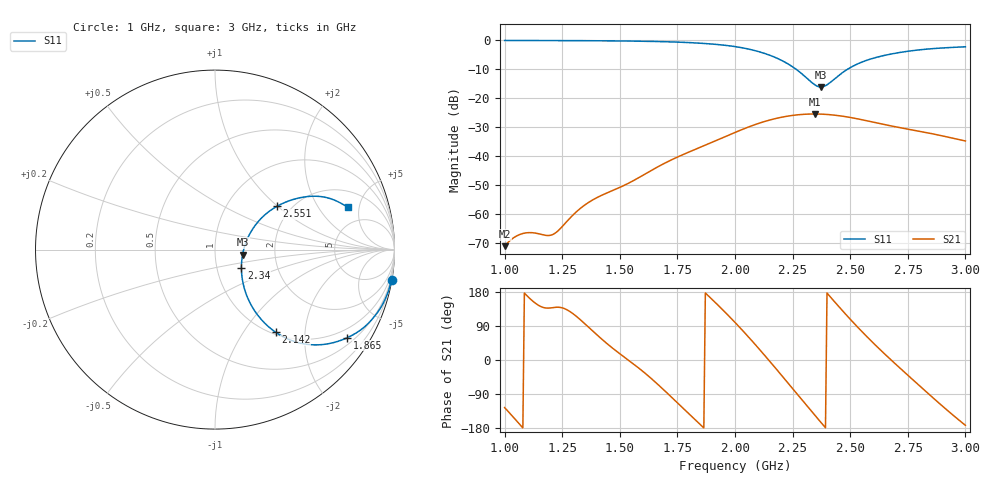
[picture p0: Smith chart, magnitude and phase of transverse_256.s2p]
! TOUCHSTONE file generated by CST MICROWAVE STUDIO
! Date and time: Tue Mar 11 13:58:04 2025
! Project name: transverse.cst
! Parameters = {Fracture=5; B=12.5; D=160; F=5; Feed=2.85625; L=100; M=10; R=0.384908; S=2; Theta=270; length=57.125; wave=114.25}
! Header version: 2024
! Port assignment regex: !\s*Touchstone port\s*([0-9]+)\s*=\s*(CST MWS port|CST DES external port|CST DES block port)\s*(.+)\s* \(\"(.*)\"\)(\s*mode\s*([0-9]+))?.*
! Touchstone port assignment:
! Touchstone port 1 = CST MWS port 1 ("")
! Touchstone port 2 = CST MWS port 2 ("")
# GHz S MA R 50
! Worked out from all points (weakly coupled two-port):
!   304 points, 1 GHz to 3 GHz, reference 50 ohm
!   highest |S21| = -25.48 dB at 2.347 GHz (marker M1); lowest = -71.3 dB at 1 GHz (marker M2)
!   lowest |S11| = -16.1 dB at 2.373 GHz (marker M3), VSWR 1.37, Z = 68 - j3.82 ohm
!   |S11| at or under -10 dB: 2.265 GHz to 2.488 GHz (223 MHz wide, 9.38 % of centre)
!   S12 and S22 are empty: the file has one direction only
!   S11 on the Smith chart (normalised r, x): 1 GHz: 0, -12; 1.865 GHz: 0.70, -3.17; 2.142 GHz: 1.04, -1.41; 2.34 GHz: 1.31, -0.27; 2.551 GHz: 1.69, +0.99; 3 GHz: 3.22, +3.81
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1  0.9979 -9.8  0.0002735 -125.6  0 0.0  0 0.0
1.0396  0.9973 -10.3  0.0003838 -152.3  0 0.0  0 0.0
1.07921  0.9966 -10.8  0.0004534 -179.1  0 0.0  0 0.0
1.18482  0.995 -12.4  0.0004187 136.9  0 0.0  0 0.0
1.21122  0.9945 -12.9  0.0004396 138.3  0 0.0  0 0.0
1.33663  0.9898 -15.2  0.001307 102.0  0 0.0  0 0.0
1.39604  0.9868 -16.5  0.001854 69.0  0 0.0  0 0.0
1.53465  0.9756 -20.0  0.003315 0.8  0 0.0  0 0.0
1.66667  0.9557 -24.3  0.006525 -65.2  0 0.0  0 0.0
1.86469  0.8862 -33.6  0.01494 -179.3  0 0.0  0 0.0
2.0033  0.7778 -43.0  0.02581 97.2  0 0.0  0 0.0
2.14191  0.5702 -53.7  0.04089 2.9  0 0.0  0 0.0
2.24092  0.3685 -56.9  0.0497 -68.7  0 0.0  0 0.0
2.33993  0.1778 -34.2  0.05318 -140.9  0 0.0  0 0.0
2.34653  0.1703 -30.1  0.05318 -145.6  0 0.0  0 0.0
2.37294  0.1561 -10.1  0.05291 -164.6  0 0.0  0 0.0
2.39934  0.1703 9.5  0.0522 176.6  0 0.0  0 0.0
2.46535  0.2746 32.2  0.04881 130.9  0 0.0  0 0.0
2.55116  0.422 34.9  0.0423 74.8  0 0.0  0 0.0
2.66997  0.5731 30.7  0.03351 4.4  0 0.0  0 0.0
2.82838  0.7041 23.7  0.02543 -83.0  0 0.0  0 0.0
3  0.7754 17.7  0.01813 -172.4  0 0.0  0 0.0
